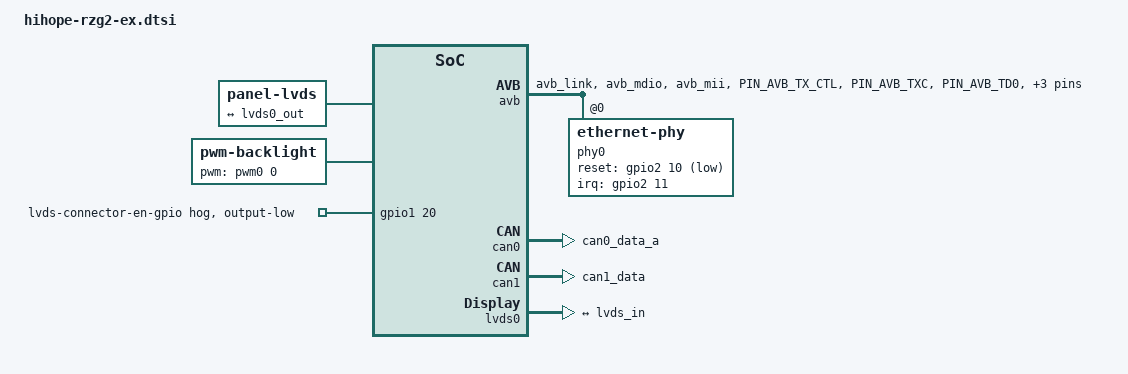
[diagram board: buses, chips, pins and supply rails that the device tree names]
// SPDX-License-Identifier: GPL-2.0
/*
 * Device Tree Source for common parts of Sub boards for HiHope RZ/G2M platform
 * and HiHope RZ/G2N platform
 *
 * Copyright (C) 2019 Renesas Electronics Corp.
 */

#include <dt-bindings/gpio/gpio.h>
/ {
	aliases {
		ethernet0 = &avb;
	};

	lvds {
		compatible = "panel-lvds";

		width-mm = <223>;
		height-mm = <125>;

		data-mapping = "jeida-24";

		panel-timing {
			/* 1024x600@60Hz */
			clock-frequency = <51200000>;
			hactive = <1024>;
			vactive = <600>;
			hsync-len = <240>;
			hfront-porch = <40>;
			hback-porch = <40>;
			vfront-porch = <15>;
			vback-porch = <10>;
			vsync-len = <10>;
		};

		port {
			lvds_in: endpoint {
				remote-endpoint = <&lvds0_out>;
			};
		};
	};

	backlight {
		compatible = "pwm-backlight";
		pwms = <&pwm0 0 5000000>;

		brightness-levels = <0 4 8 16 32 64 128 255>;
		default-brightness-level = <6>;
	};
};

&avb {
	pinctrl-0 = <&avb_pins>;
	pinctrl-names = "default";
	phy-handle = <&phy0>;
	phy-mode = "rgmii-txid";
	status = "okay";

	phy0: ethernet-phy@0 {
		reg = <0>;
		interrupt-parent = <&gpio2>;
		interrupts = <11 IRQ_TYPE_LEVEL_LOW>;
		reset-gpios = <&gpio2 10 GPIO_ACTIVE_LOW>;
	};
};

&can0 {
	pinctrl-0 = <&can0_pins>;
	pinctrl-names = "default";
	renesas,can-clock-select = <0x0>;
	status = "okay";
};

&can1 {
	pinctrl-0 = <&can1_pins>;
	pinctrl-names = "default";
	renesas,can-clock-select = <0x0>;
	status = "okay";
};

&pfc {
	avb_pins: avb {
		mux {
			groups = "avb_link", "avb_mdio", "avb_mii";
			function = "avb";
		};

		pins_mdio {
			groups = "avb_mdio";
			drive-strength = <24>;
		};

		pins_mii_tx {
			pins = "PIN_AVB_TX_CTL", "PIN_AVB_TXC", "PIN_AVB_TD0",
			       "PIN_AVB_TD1", "PIN_AVB_TD2", "PIN_AVB_TD3";
			drive-strength = <12>;
		};
	};

	can0_pins: can0 {
		groups = "can0_data_a";
		function = "can0";
	};

	can1_pins: can1 {
		groups = "can1_data";
		function = "can1";
	};
};

&lvds0 {
	status = "okay";

	ports {
		port@1 {
			lvds0_out: endpoint {
				remote-endpoint = <&lvds_in>;
			};
		};
	};
};

/* GP1_20 is used to select (SEL) output direction for LVDS-IF
 * SEL = L => To LVDS Connector
 * SEL = H => To MIPI-DSI
 *
 * Currently just support LVDS Connector so that set LOW for GP1_20
 */
&gpio1 {
	lvds-connector-en-gpio{
		gpio-hog;
		gpios = <20 GPIO_ACTIVE_HIGH>;
		output-low;
		line-name = "lvds-connector-en-gpio";
	};
};
